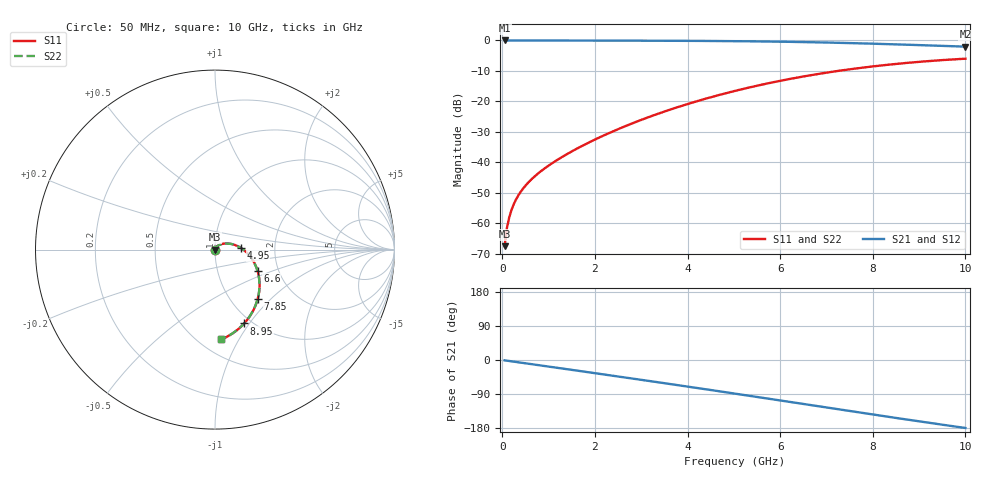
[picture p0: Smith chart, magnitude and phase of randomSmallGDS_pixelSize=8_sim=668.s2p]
! freq	dB(S11)	phase(S11)	dB(S12)	phase(S12)
!  dB(S21)	phase(S21)	dB(S22)	phase(S22)
!S-par simulation data
#  GHz  S  DB  R 50
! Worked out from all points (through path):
!   200 points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, 50 MHz to 10 GHz, reference 50 ohm
!   highest |S21| = 0.00 dB at 50 MHz (marker M1); lowest = -2.0 dB at 10 GHz (marker M2)
!   group delay of S21, straight-line fit = 50.2 ps
!   lowest |S11| = -67.5 dB at 50 MHz (marker M3), VSWR 1.00, Z = 50 + j0.0418 ohm
!   |S11| at or under -10 dB: start of sweep to 7.251 GHz
!   |S22| runs from -67.5 to -6.0 dB; largest |S21 - S12| = 0
!   S11 on the Smith chart (normalised r, x): 50 MHz: 1.00, +0.00; 4.95 GHz: 1.33, +0.03; 6.6 GHz: 1.56, -0.39; 7.85 GHz: 1.32, -0.84; 8.95 GHz: 0.92, -0.95; 10 GHz: 0.63, -0.85
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0.05  -67.52 83.2  -0.00 -0.9  -0.00 -0.9  -67.51 83.1
0.1  -61.54 84.7  -0.00 -1.8  -0.00 -1.8  -61.54 84.7
0.15  -58.04 84.4  -0.00 -2.6  -0.00 -2.6  -58.04 84.4
0.2  -55.57 83.7  -0.00 -3.5  -0.00 -3.5  -55.57 83.7
0.3  -52.09 82.2  -0.01 -5.3  -0.01 -5.3  -52.09 82.1
0.45  -48.59 79.8  -0.01 -7.9  -0.01 -7.9  -48.59 79.8
0.65  -45.29 77.0  -0.01 -11.3  -0.01 -11.3  -45.29 76.9
0.95  -41.60 72.9  -0.02 -16.5  -0.02 -16.5  -41.60 72.7
1.3  -38.16 67.7  -0.03 -22.6  -0.03 -22.6  -38.16 67.6
1.75  -34.40 60.6  -0.04 -30.4  -0.04 -30.4  -34.40 60.4
2.55  -28.80 47.0  -0.06 -44.4  -0.06 -44.4  -28.80 46.8
3.4  -23.86 32.0  -0.09 -59.4  -0.09 -59.4  -23.86 31.8
4.2  -19.95 17.6  -0.14 -73.7  -0.14 -73.7  -19.96 17.4
4.95  -16.84 4.0  -0.22 -87.3  -0.22 -87.3  -16.84 3.8
5.05  -16.46 2.1  -0.23 -89.2  -0.23 -89.2  -16.46 2.0
5.8  -13.87 -11.6  -0.36 -103.0  -0.36 -103.0  -13.87 -11.8
6.6  -11.56 -26.3  -0.56 -117.9  -0.56 -117.9  -11.56 -26.5
6.7  -11.30 -28.2  -0.59 -119.7  -0.59 -119.7  -11.30 -28.3
7.85  -8.79 -49.1  -1.00 -141.0  -1.00 -141.0  -8.79 -49.2
8.35  -7.94 -58.0  -1.21 -150.2  -1.21 -150.2  -7.94 -58.1
8.95  -7.08 -68.4  -1.50 -161.0  -1.50 -161.0  -7.08 -68.6
10  -5.99 -86.1  -2.03 -179.4  -2.03 -179.4  -5.99 -86.2
